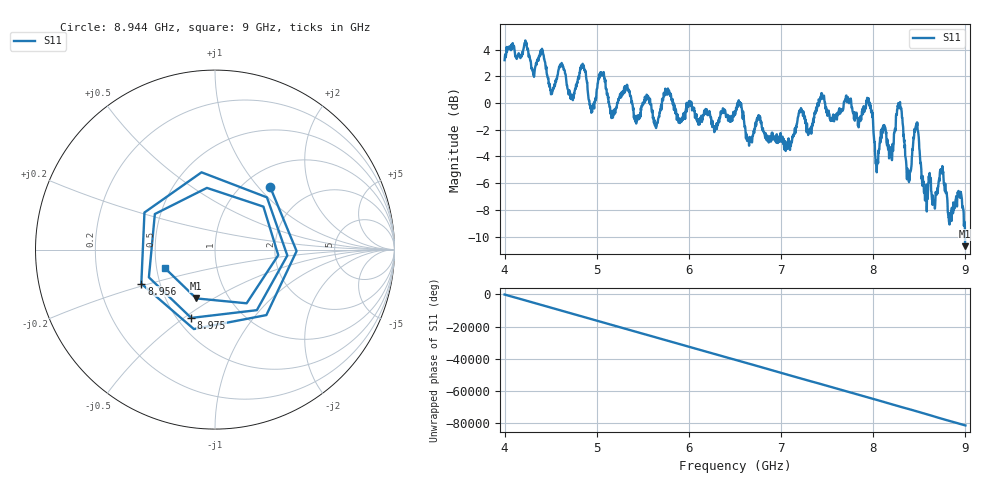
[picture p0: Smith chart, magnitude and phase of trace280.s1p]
! Created with skrf 1.8.0 (http://scikit-rf.org).
# Hz S RI R 50.0
!freq ReS11 ImS11
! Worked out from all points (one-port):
!   1601 points, 4 GHz to 9 GHz, reference 50 ohm
!   lowest |S11| = -10.7 dB at 8.997 GHz (marker M1), VSWR 1.82, Z = 35.4 - j21 ohm
!   |S11| at or under -10 dB: 8.995593 GHz to end of sweep
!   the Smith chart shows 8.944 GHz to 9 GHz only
!   S11 on the Smith chart (normalised r, x): 8.944 GHz: 1.30, +1.16; 8.956 GHz: 0.39, -0.19; 8.975 GHz: 0.59, -0.53; 9 GHz: 0.56, -0.13
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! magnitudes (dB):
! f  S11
! 4 GHz  3.2
! 4.406 GHz  4.1
! 4.509 GHz  0.7
! 4.625 GHz  2.9
! 4.731 GHz  0.5
! 4.856 GHz  2.8
! 4.947 GHz  -0.6
! 5.05 GHz  2.1
! 5.162 GHz  -0.9
! 5.25 GHz  0.5
! 5.875 GHz  -0.9
! 6.5 GHz  -0.8
! 7.125 GHz  -2.5
! 7.444 GHz  0.7
! 7.75 GHz  0.2
! 7.95 GHz  0.3
! 8.044 GHz  -4.3
! 8.109 GHz  -2.1
! 8.197 GHz  -3.5
! 8.284 GHz  -0.4
! 8.375 GHz  -5.2
! 8.469 GHz  -1.7
! 8.566 GHz  -6.8
! 8.944 GHz  -6.6
! 8.956 GHz  -6.9
! 8.975 GHz  -7.9
! 8.997 GHz  -10.7
! 9 GHz  -10.6
